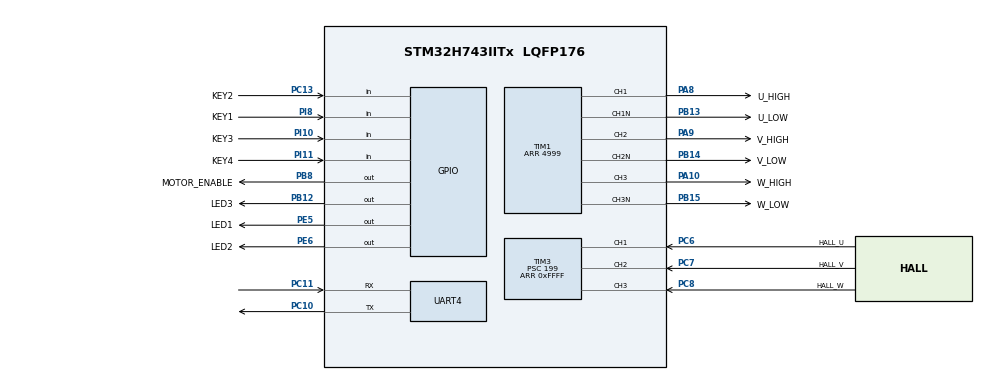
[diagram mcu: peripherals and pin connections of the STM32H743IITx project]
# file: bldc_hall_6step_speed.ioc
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CORTEX_M7.AccessPermission_Spec=MPU_REGION_FULL_ACCESS
CORTEX_M7.BaseAddress_Spec=0x24000000
CORTEX_M7.CPU_DCache=Enabled
CORTEX_M7.CPU_ICache=Enabled
CORTEX_M7.DisableExec_Spec=MPU_INSTRUCTION_ACCESS_ENABLE
CORTEX_M7.IsCacheable_Spec=MPU_ACCESS_CACHEABLE
CORTEX_M7.IsShareable_Spec=MPU_ACCESS_SHAREABLE
CORTEX_M7.MPU_Control=MPU_HFNMI_PRIVDEF
CORTEX_M7.Size_Spec=MPU_REGION_SIZE_512KB
CORTEX_M7.SubRegionDisable_Spec=0x00
CORTEX_M7.default_mode_Activation=1
Dma.Request0=UART4_RX
Dma.UART4_RX.0.Direction=DMA_PERIPH_TO_MEMORY
Dma.UART4_RX.0.EventEnable=DISABLE
Dma.UART4_RX.0.FIFOMode=DMA_FIFOMODE_DISABLE
Dma.UART4_RX.0.Instance=DMA1_Stream0
Dma.UART4_RX.0.MemDataAlignment=DMA_MDATAALIGN_BYTE
Dma.UART4_RX.0.MemInc=DMA_MINC_ENABLE
Dma.UART4_RX.0.Mode=DMA_NORMAL
Dma.UART4_RX.0.PeriphDataAlignment=DMA_PDATAALIGN_BYTE
Dma.UART4_RX.0.PeriphInc=DMA_PINC_DISABLE
Dma.UART4_RX.0.Polarity=HAL_DMAMUX_REQ_GEN_RISING
Dma.UART4_RX.0.Priority=DMA_PRIORITY_LOW
Dma.UART4_RX.0.RequestNumber=1
Dma.UART4_RX.0.SignalID=NONE
Dma.UART4_RX.0.SyncEnable=DISABLE
Dma.UART4_RX.0.SyncPolarity=HAL_DMAMUX_SYNC_NO_EVENT
Dma.UART4_RX.0.SyncRequestNumber=1
Dma.UART4_RX.0.SyncSignalID=NONE
Mcu.Family=STM32H7
Mcu.Name=STM32H743IITx
Mcu.Package=LQFP176
NVIC.DMA1_Stream0_IRQn=true\:0\:0\:false\:false\:true\:false\:true\:true
NVIC.PriorityGroup=NVIC_PRIORITYGROUP_3
NVIC.TIM3_IRQn=true\:0\:1\:true\:false\:true\:true\:true\:true
NVIC.UART4_IRQn=true\:1\:1\:true\:false\:true\:true\:true\:true
PA10.GPIO_Label=W_HIGH
PA10.GPIO_Speed=GPIO_SPEED_FREQ_HIGH
PA10.Signal=S_TIM1_CH3
PA13\ (JTMS/SWDIO).Mode=Serial_Wire
PA13\ (JTMS/SWDIO).Signal=DEBUG_JTMS-SWDIO
PA14\ (JTCK/SWCLK).Mode=Serial_Wire
PA14\ (JTCK/SWCLK).Signal=DEBUG_JTCK-SWCLK
PA8.GPIO_Label=U_HIGH
PA8.GPIO_Speed=GPIO_SPEED_FREQ_HIGH
PA8.Signal=S_TIM1_CH1
PA9.GPIO_Label=V_HIGH
PA9.GPIO_Speed=GPIO_SPEED_FREQ_HIGH
PA9.Signal=S_TIM1_CH2
PB12.GPIO_Label=LED3
PB12.Signal=GPIO_Output
PB13.GPIO_Label=U_LOW
PB13.GPIO_Speed=GPIO_SPEED_FREQ_HIGH
PB13.Mode=PWM Generation1 CH1 CH1N
PB13.Signal=TIM1_CH1N
PB14.GPIO_Label=V_LOW
PB14.GPIO_Speed=GPIO_SPEED_FREQ_HIGH
PB14.Mode=PWM Generation2 CH2 CH2N
PB14.Signal=TIM1_CH2N
PB15.GPIO_Label=W_LOW
PB15.GPIO_Speed=GPIO_SPEED_FREQ_HIGH
PB15.Mode=PWM Generation3 CH3 CH3N
PB15.Signal=TIM1_CH3N
PB8.GPIO_Label=MOTOR_ENABLE
PB8.GPIO_Speed=GPIO_SPEED_FREQ_HIGH
PB8.Signal=GPIO_Output
PC10.Mode=Asynchronous
PC10.Signal=UART4_TX
PC11.Mode=Asynchronous
PC11.Signal=UART4_RX
PC13.GPIO_Label=KEY2
PC13.Signal=GPIO_Input
PC6.GPIO_Label=HALL_U
PC6.GPIO_Speed=GPIO_SPEED_FREQ_HIGH
PC6.Signal=S_TIM3_CH1
PC7.GPIO_Label=HALL_V
PC7.GPIO_Speed=GPIO_SPEED_FREQ_HIGH
PC7.Signal=S_TIM3_CH2
PC8.GPIO_Label=HALL_W
PC8.GPIO_Speed=GPIO_SPEED_FREQ_HIGH
PC8.Signal=S_TIM3_CH3
PE5.GPIO_Label=LED1
PE5.Signal=GPIO_Output
PE6.GPIO_Label=LED2
PE6.Signal=GPIO_Output
PH0-OSC_IN\ (PH0).Mode=HSE-External-Oscillator
PH0-OSC_IN\ (PH0).Signal=RCC_OSC_IN
PH1-OSC_OUT\ (PH1).Mode=HSE-External-Oscillator
PH1-OSC_OUT\ (PH1).Signal=RCC_OSC_OUT
PI10.GPIO_Label=KEY3
PI10.Signal=GPIO_Input
PI11.GPIO_Label=KEY4
PI11.Signal=GPIO_Input
PI8.GPIO_Label=KEY1
PI8.Signal=GPIO_Input
ProjectManager.HeapSize=0x200
ProjectManager.StackSize=0x400
ProjectManager.TargetToolchain=MDK-ARM V5.32
RCC.ADCFreq_Value=50390625
RCC.APB1Freq_Value=120000000
RCC.APB2Freq_Value=120000000
RCC.APB3Freq_Value=120000000
RCC.APB4Freq_Value=120000000
RCC.CortexFreq_Value=480000000
RCC.D1PPRE=RCC_APB3_DIV2
RCC.D2PPRE1=RCC_APB1_DIV2
RCC.D2PPRE2=RCC_APB2_DIV2
RCC.D3PPRE=RCC_APB4_DIV2
RCC.DIVM1=5
RCC.DIVN1=192
RCC.HCLKFreq_Value=240000000
RCC.HPRE=RCC_HCLK_DIV2
RCC.PLL2FRACN=0
RCC.PLL3FRACN=0
RCC.PLLFRACN=0
RCC.PLLSourceVirtual=RCC_PLLSOURCE_HSE
RCC.PWR_Regulator_Voltage_Scale=PWR_REGULATOR_VOLTAGE_SCALE0
RCC.SYSCLKFreq_VALUE=480000000
RCC.SYSCLKSource=RCC_SYSCLKSOURCE_PLLCLK
RCC.USBFreq_Value=480000000
SH.S_TIM1_CH1.0=TIM1_CH1,PWM Generation1 CH1 CH1N
SH.S_TIM1_CH2.0=TIM1_CH2,PWM Generation2 CH2 CH2N
SH.S_TIM1_CH3.0=TIM1_CH3,PWM Generation3 CH3 CH3N
SH.S_TIM3_CH1.0=TIM3_CH1,Xored_Inputs_Hall_Sensor_Interface
SH.S_TIM3_CH2.0=TIM3_CH2,Xored_Inputs_Hall_Sensor_Interface
SH.S_TIM3_CH3.0=TIM3_CH3,Xored_Inputs_Hall_Sensor_Interface
STMicroelectronics.X-CUBE-ALGOBUILD.1.3.0.LibraryCcDSPOoLibraryJjDSPOoLibrary=true
TIM1.BreakState=TIM_BREAK_ENABLE
TIM1.Channel-PWM\ Generation1\ CH1\ CH1N=TIM_CHANNEL_1
TIM1.Channel-PWM\ Generation2\ CH2\ CH2N=TIM_CHANNEL_2
TIM1.Channel-PWM\ Generation3\ CH3\ CH3N=TIM_CHANNEL_3
TIM1.CounterMode=TIM_COUNTERMODE_CENTERALIGNED1
TIM1.DeadTime=0x28
TIM1.OC1Preload_PWM=ENABLE
TIM1.OCFastMode_PWM-PWM\ Generation1\ CH1\ CH1N=TIM_OCFAST_DISABLE
TIM1.OCFastMode_PWM-PWM\ Generation2\ CH2\ CH2N=TIM_OCFAST_DISABLE
TIM1.OCFastMode_PWM-PWM\ Generation3\ CH3\ CH3N=TIM_OCFAST_DISABLE
TIM1.OffStateIDLEMode=TIM_OSSI_ENABLE
TIM1.OffStateRunMode=TIM_OSSR_ENABLE
TIM1.Period=4999
TIM3.AutoReloadPreload=TIM_AUTORELOAD_PRELOAD_ENABLE
TIM3.Commutation_Delay=3
TIM3.CounterMode=TIM_COUNTERMODE_CENTERALIGNED1
TIM3.IC1Filter=0x0E
TIM3.Period=0xFFFF
TIM3.Prescaler=199
VP_STMicroelectronics.X-CUBE-ALGOBUILD_VS_DSPOoLibraryJjLibrary_1.3.0_1.3.0.Mode=DSPOoLibraryJjLibrary
VP_TIM1_VS_ClockSourceINT.Mode=Internal
board=custom

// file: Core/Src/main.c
/* USER CODE BEGIN Header */
/**
  ******************************************************************************
  * @file           : main.c
  * @brief          : Main program body
  ******************************************************************************
  * @attention
  *
  * Copyright (c) 2024 STMicroelectronics.
  * All rights reserved.
  *
  * This software is licensed under terms that can be found in the LICENSE file
  * in the root directory of this software component.
  * If no LICENSE file comes with this software, it is provided AS-IS.
  *
  ******************************************************************************
  */
/* USER CODE END Header */
#include "main.h"
#include "dma.h"
#include "tim.h"
#include "usart.h"
#include "gpio.h"

/* USER CODE BEGIN Includes */
#include "stm32h7xx_hal_rcc.h"
#include "stdio.h"
#include "bsp_motor.h"
#include "bsp_hall.h"
#include "protocol_niming_upper.h"
#include "protocol_uart_sei.h"
#include "algorithm_pid.h"
#include "algorithm_filtering.h"
#include "math.h"
#include "debug.h"
/* USER CODE END Includes */

/* USER CODE BEGIN PV */
MotorSta_Typedef global_motorsta;
MotorDir_Typedef global_motordir;
FOLPF_HandleTypeDef global_speed_hz;
PID_LOC_HandleTypedef motor_speed_pid;
uint32_t global_pwm_duty=0;
uint8_t global_state=0x00;
uint8_t uart_rx_buffer[UART_BUFFER_LEN];
float32_t motor_control_val=0;
/* USER CODE END PV */

void SystemClock_Config(void);
#if MPU_ENABLE
static void MPU_Config(void);
#endif

int main(void)
{

  /* MPU Configuration--------------------------------------------------------*/
#if MPU_ENABLE
  MPU_Config();
#endif
  /* Enable the CPU Cache */

  /* Enable I-Cache---------------------------------------------------------*/
  SCB_EnableICache();

  /* Enable D-Cache---------------------------------------------------------*/
  SCB_EnableDCache();

  /* MCU Configuration--------------------------------------------------------*/

  /* Reset of all peripherals, Initializes the Flash interface and the Systick. */
  HAL_Init();

  /* Configure the system clock */
  SystemClock_Config();

  /* USER CODE BEGIN SysInit */
  HAL_Delay(200);//wait for powersupply stability
  /* USER CODE END SysInit */

  /* Initialize all configured peripherals */
  MX_GPIO_Init();
  MX_DMA_Init();
  MX_TIM3_Init();
  MX_TIM1_Init();
  MX_UART4_Init();
  /* USER CODE BEGIN 2 */
  // __HAL_DBGMCU_FREEZE_TIM1();
  // __HAL_DBGMCU_FREEZE_TIM3();
  HALLSENSOR_TIMxStart(&htim3);
  global_motorsta=MOTOR_STA_DISABLE;
  FLOAT_FirstOrderLowPassFiltering_DataInit(&global_speed_hz,SPEED_HZ_FILTERING_ALPHA);
  PID_LOC_Init(&motor_speed_pid,round(0./60.*PPR),0.75f,0.45f,0.f);

  __HAL_UART_ENABLE_IT(&huart4,UART_IT_IDLE);
  HAL_UART_Receive_DMA(&huart4,(uint8_t *)uart_rx_buffer,UART_BUFFER_LEN);
  /* USER CODE END 2 */

  /* Infinite loop */
  /* USER CODE BEGIN WHILE */
  MOTOR_Start(&htim1,&htim3);
  while (1)
  {
    Protocol_UARTxRXProcess();

    if(GPIO_PIN_RESET==HAL_GPIO_ReadPin(KEY1_GPIO_Port,KEY1_Pin)){
      MOTOR_ENABLE();
      global_motorsta=MOTOR_STA_ENABLE;
    }

    if(GPIO_PIN_RESET==HAL_GPIO_ReadPin(KEY2_GPIO_Port,KEY2_Pin)){

#if BREAKING_INERTIA
      MOTOR_Breaking_Inertia();
#endif
#if BREAKING_LOWBRIDGE
      MOTOR_Breaking_LowBridge(&htim1);
#endif

      /*speed_duty or control_val must be zero when motor enable*/
      /********if not motor will shake while motor runing********/
      motor_control_val=0;
      MOTOR_SpeedControl(&htim1,round(motor_control_val));

      global_speed_hz.current_val = 0;
      global_speed_hz.last_val    = 0;
      motor_speed_pid.control_val = 0;
      motor_speed_pid.err         = 0;
      motor_speed_pid.err_last    = 0;
      motor_speed_pid.integral    = 0;
    }

    if(global_state&0x01){
      global_speed_hz.current_val=HALLSENSOR_SpeedFrequency_Hz();
      FLOAT_FirstOrderLowPassFiltering_Process(&global_speed_hz);
      if(0==global_speed_hz.current_val){
        uint8_t hall_phase=0;
        hall_phase=HALLSENSOR_GetPhase();

#if BREAKING_INERTIA
        /*aim to phase when motor enable*/
        global_pwm_duty=30;
#endif

        MOTOR_Control(&htim1,hall_phase);
        HAL_TIM_GenerateEvent(&htim1,TIM_EVENTSOURCE_COM);
      }
      motor_control_val=PID_LOC_Process(&motor_speed_pid,global_speed_hz.current_val);
      MOTOR_SpeedControl(&htim1,round(motor_control_val));
      global_state&=~0x01;
    }

    if(global_state&0x02){
      if(MOTOR_STA_DISABLE==global_motorsta){
        global_speed_hz.current_val=HALLSENSOR_SpeedFrequency_Hz();
        FLOAT_FirstOrderLowPassFiltering_Process(&global_speed_hz);
      }
      Protocol_NIMING_Mortor(&huart4,0xF1,global_speed_hz.current_val,global_speed_hz.current_val/PPR,(global_speed_hz.current_val/PPR)*60);
      global_state&=~0x02;
    }
    /* USER CODE END WHILE */

  }
}

void SystemClock_Config(void)
{
  RCC_OscInitTypeDef RCC_OscInitStruct = {0};
  RCC_ClkInitTypeDef RCC_ClkInitStruct = {0};

  /** Supply configuration update enable
  */
  HAL_PWREx_ConfigSupply(PWR_LDO_SUPPLY);

  /** Configure the main internal regulator output voltage
  */
  __HAL_PWR_VOLTAGESCALING_CONFIG(PWR_REGULATOR_VOLTAGE_SCALE1);

  while(!__HAL_PWR_GET_FLAG(PWR_FLAG_VOSRDY)) {}

  __HAL_RCC_SYSCFG_CLK_ENABLE();
  __HAL_PWR_VOLTAGESCALING_CONFIG(PWR_REGULATOR_VOLTAGE_SCALE0);

  while(!__HAL_PWR_GET_FLAG(PWR_FLAG_VOSRDY)) {}

  /** Initializes the RCC Oscillators according to the specified parameters
  * in the RCC_OscInitTypeDef structure.
  */
  RCC_OscInitStruct.OscillatorType = RCC_OSCILLATORTYPE_HSE;
  RCC_OscInitStruct.HSEState = RCC_HSE_ON;
  RCC_OscInitStruct.PLL.PLLState = RCC_PLL_ON;
  RCC_OscInitStruct.PLL.PLLSource = RCC_PLLSOURCE_HSE;
  RCC_OscInitStruct.PLL.PLLM = 2;
  RCC_OscInitStruct.PLL.PLLN = 64;
  RCC_OscInitStruct.PLL.PLLP = 2;
  RCC_OscInitStruct.PLL.PLLQ = 2;
  RCC_OscInitStruct.PLL.PLLR = 2;
  RCC_OscInitStruct.PLL.PLLRGE = RCC_PLL1VCIRANGE_3;
  RCC_OscInitStruct.PLL.PLLVCOSEL = RCC_PLL1VCOWIDE;
  RCC_OscInitStruct.PLL.PLLFRACN = 0;
  if (HAL_RCC_OscConfig(&RCC_OscInitStruct) != HAL_OK)
  {
    Error_Handler();
  }

  /** Initializes the CPU, AHB and APB buses clocks
  */
  RCC_ClkInitStruct.ClockType = RCC_CLOCKTYPE_HCLK|RCC_CLOCKTYPE_SYSCLK
                              |RCC_CLOCKTYPE_PCLK1|RCC_CLOCKTYPE_PCLK2
                              |RCC_CLOCKTYPE_D3PCLK1|RCC_CLOCKTYPE_D1PCLK1;
  RCC_ClkInitStruct.SYSCLKSource = RCC_SYSCLKSOURCE_PLLCLK;
  RCC_ClkInitStruct.SYSCLKDivider = RCC_SYSCLK_DIV1;
  RCC_ClkInitStruct.AHBCLKDivider = RCC_HCLK_DIV2;
  RCC_ClkInitStruct.APB3CLKDivider = RCC_APB3_DIV2;
  RCC_ClkInitStruct.APB1CLKDivider = RCC_APB1_DIV2;
  RCC_ClkInitStruct.APB2CLKDivider = RCC_APB2_DIV2;
  RCC_ClkInitStruct.APB4CLKDivider = RCC_APB4_DIV2;

  if (HAL_RCC_ClockConfig(&RCC_ClkInitStruct, FLASH_LATENCY_2) != HAL_OK)
  {
    Error_Handler();
  }
}

 /* MPU Configuration */
#if MPU_ENABLE
void MPU_Config(void)
{
  MPU_Region_InitTypeDef MPU_InitStruct = {0};

  /* Disables the MPU */
  HAL_MPU_Disable();

  /** Initializes and configures the Region and the memory to be protected
  */
  MPU_InitStruct.Enable = MPU_REGION_ENABLE;
  MPU_InitStruct.Number = MPU_REGION_NUMBER0;
  MPU_InitStruct.BaseAddress = 0x24000000;
  MPU_InitStruct.Size = MPU_REGION_SIZE_512KB;
  MPU_InitStruct.SubRegionDisable = 0x00;
  MPU_InitStruct.TypeExtField = MPU_TEX_LEVEL0;
  MPU_InitStruct.AccessPermission = MPU_REGION_FULL_ACCESS;
  MPU_InitStruct.DisableExec = MPU_INSTRUCTION_ACCESS_ENABLE;
  MPU_InitStruct.IsShareable = MPU_ACCESS_SHAREABLE;
  MPU_InitStruct.IsCacheable = MPU_ACCESS_CACHEABLE;
  MPU_InitStruct.IsBufferable = MPU_ACCESS_NOT_BUFFERABLE;

  HAL_MPU_ConfigRegion(&MPU_InitStruct);
  /* Enables the MPU */
  HAL_MPU_Enable(MPU_HFNMI_PRIVDEF);

}
#endif
void Error_Handler(void)
{
  __disable_irq();
  while (1)
  {
  }
}
